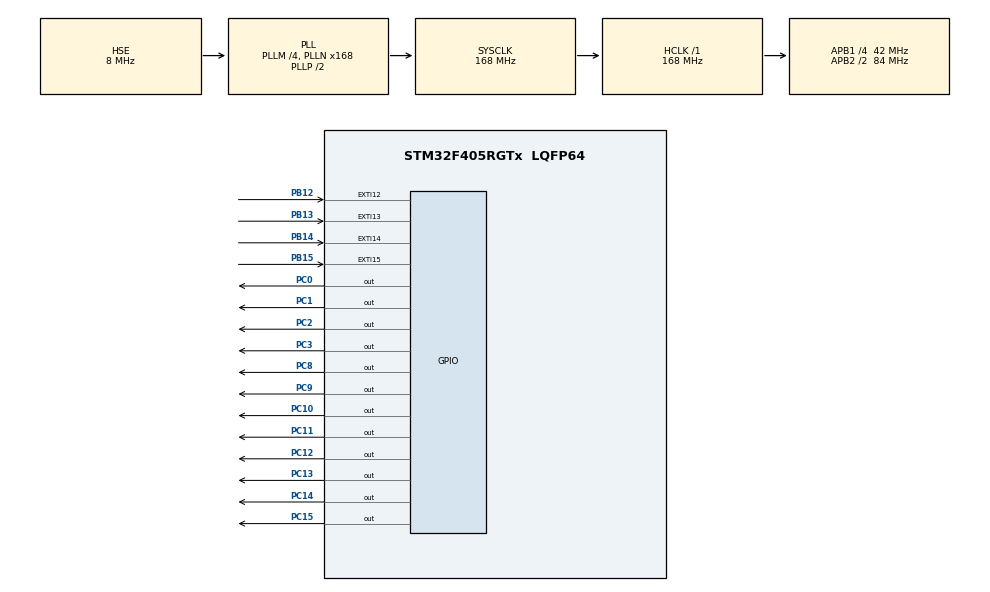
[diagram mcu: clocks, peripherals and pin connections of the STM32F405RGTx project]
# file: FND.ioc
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Mcu.Family=STM32F4
Mcu.Name=STM32F405RGTx
Mcu.Package=LQFP64
NVIC.PriorityGroup=NVIC_PRIORITYGROUP_4
PA13.Mode=Serial_Wire
PA13.Signal=SYS_JTMS-SWDIO
PA14.Mode=Serial_Wire
PA14.Signal=SYS_JTCK-SWCLK
PB12.Signal=GPXTI12
PB13.Signal=GPXTI13
PB14.Signal=GPXTI14
PB15.Signal=GPXTI15
PC0.Signal=GPIO_Output
PC1.Signal=GPIO_Output
PC10.Signal=GPIO_Output
PC11.Signal=GPIO_Output
PC12.Signal=GPIO_Output
PC13-ANTI_TAMP.Signal=GPIO_Output
PC14-OSC32_IN.Signal=GPIO_Output
PC15-OSC32_OUT.Signal=GPIO_Output
PC2.Signal=GPIO_Output
PC3.Signal=GPIO_Output
PC8.Signal=GPIO_Output
PC9.Signal=GPIO_Output
PH0-OSC_IN.Mode=HSE-External-Oscillator
PH0-OSC_IN.Signal=RCC_OSC_IN
PH1-OSC_OUT.Mode=HSE-External-Oscillator
PH1-OSC_OUT.Signal=RCC_OSC_OUT
ProjectManager.HeapSize=0x200
ProjectManager.StackSize=0x400
ProjectManager.TargetToolchain=EWARM V8.32
RCC.48MHZClocksFreq_Value=84000000
RCC.AHBFreq_Value=168000000
RCC.APB1CLKDivider=RCC_HCLK_DIV4
RCC.APB1Freq_Value=42000000
RCC.APB1TimFreq_Value=84000000
RCC.APB2CLKDivider=RCC_HCLK_DIV2
RCC.APB2Freq_Value=84000000
RCC.APB2TimFreq_Value=168000000
RCC.CortexFreq_Value=168000000
RCC.HCLKFreq_Value=168000000
RCC.HSE_VALUE=8000000
RCC.HSI_VALUE=16000000
RCC.LSE_VALUE=32768
RCC.PLLM=4
RCC.PLLN=168
RCC.PLLSourceVirtual=RCC_PLLSOURCE_HSE
RCC.SYSCLKFreq_VALUE=168000000
RCC.SYSCLKSource=RCC_SYSCLKSOURCE_PLLCLK
RCC.VCOOutputFreq_Value=336000000
board=custom

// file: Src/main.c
/* USER CODE BEGIN Header */
/**
******************************************************************************
* @file           : main.c
* @brief          : Main program body
******************************************************************************
* @attention
*
* <h2><center>&copy; Copyright (c) 2020 STMicroelectronics.
* All rights reserved.</center></h2>
*
* This software component is licensed by ST under BSD 3-Clause license,
* the "License"; You may not use this file except in compliance with the
* License. You may obtain a copy of the License at:
*                        opensource.org/licenses/BSD-3-Clause
*
******************************************************************************
*/
/* USER CODE END Header */

#include "main.h"
#include "gpio.h"

/* USER CODE BEGIN PV */

unsigned int FND_DATA_TBL[]={0x3F00,0x0600,0x5B00,0x4F00,0x6600,0x6D00,0x7C00,0x0700,0x7F00,0x6700,0x7700,0x7C00,0x3900,0x5E00,0x7900,0x7100,0x0800,0x8000};
/* USER CODE END PV */

void SystemClock_Config(void);

/* USER CODE BEGIN 0 */

int delay_cnt=0;
int cnt=0;

/* USER CODE END 0 */

int main(void)
{

  /* MCU Configuration--------------------------------------------------------*/

  /* Reset of all peripherals, Initializes the Flash interface and the Systick. */
  HAL_Init();

  /* Configure the system clock */
  SystemClock_Config();

  /* Initialize all configured peripherals */
  MX_GPIO_Init();

  /* Infinite loop */
  /* USER CODE BEGIN WHILE */

  HAL_GPIO_WritePin(GPIOC,FND_DATA_TBL[cnt],GPIO_PIN_SET);
  while (1)
  {

    HAL_GPIO_WritePin(GPIOC,GPIO_PIN_0,GPIO_PIN_SET);
    HAL_GPIO_WritePin(GPIOC,GPIO_PIN_1,GPIO_PIN_SET);
    HAL_GPIO_WritePin(GPIOC,GPIO_PIN_2,GPIO_PIN_SET);
    HAL_GPIO_WritePin(GPIOC,GPIO_PIN_3,GPIO_PIN_SET);
    HAL_Delay(delay_cnt);
    HAL_GPIO_WritePin(GPIOC,GPIO_PIN_0,GPIO_PIN_RESET);
    HAL_GPIO_WritePin(GPIOC,GPIO_PIN_1,GPIO_PIN_RESET);
    HAL_GPIO_WritePin(GPIOC,GPIO_PIN_2,GPIO_PIN_RESET);
    HAL_GPIO_WritePin(GPIOC,GPIO_PIN_3,GPIO_PIN_RESET);
    HAL_Delay(delay_cnt);

    /* USER CODE END WHILE */

  }
}

void SystemClock_Config(void)
{
  RCC_OscInitTypeDef RCC_OscInitStruct = {0};
  RCC_ClkInitTypeDef RCC_ClkInitStruct = {0};

  /** Configure the main internal regulator output voltage
  */
  __HAL_RCC_PWR_CLK_ENABLE();
  __HAL_PWR_VOLTAGESCALING_CONFIG(PWR_REGULATOR_VOLTAGE_SCALE1);
  /** Initializes the CPU, AHB and APB busses clocks
  */
  RCC_OscInitStruct.OscillatorType = RCC_OSCILLATORTYPE_HSE;
  RCC_OscInitStruct.HSEState = RCC_HSE_ON;
  RCC_OscInitStruct.PLL.PLLState = RCC_PLL_ON;
  RCC_OscInitStruct.PLL.PLLSource = RCC_PLLSOURCE_HSE;
  RCC_OscInitStruct.PLL.PLLM = 4;
  RCC_OscInitStruct.PLL.PLLN = 168;
  RCC_OscInitStruct.PLL.PLLP = RCC_PLLP_DIV2;
  RCC_OscInitStruct.PLL.PLLQ = 4;
  if (HAL_RCC_OscConfig(&RCC_OscInitStruct) != HAL_OK)
  {
    Error_Handler();
  }
  /** Initializes the CPU, AHB and APB busses clocks
  */
  RCC_ClkInitStruct.ClockType = RCC_CLOCKTYPE_HCLK|RCC_CLOCKTYPE_SYSCLK
                              |RCC_CLOCKTYPE_PCLK1|RCC_CLOCKTYPE_PCLK2;
  RCC_ClkInitStruct.SYSCLKSource = RCC_SYSCLKSOURCE_PLLCLK;
  RCC_ClkInitStruct.AHBCLKDivider = RCC_SYSCLK_DIV1;
  RCC_ClkInitStruct.APB1CLKDivider = RCC_HCLK_DIV4;
  RCC_ClkInitStruct.APB2CLKDivider = RCC_HCLK_DIV2;

  if (HAL_RCC_ClockConfig(&RCC_ClkInitStruct, FLASH_LATENCY_5) != HAL_OK)
  {
    Error_Handler();
  }
}

/* USER CODE BEGIN 4 */
void HAL_GPIO_EXTI_Callback(uint16_t GPIO_Pin)
{
  if(GPIO_Pin==GPIO_PIN_12) cnt++;
  else if(GPIO_PIN==GPIO_PIN_12) cnt--;

  if(cnt<0) cnt=0;
  else if(cnt>9) cnt=9;

     if(cnt==0) delay_cnt=0;
      else if(cnt==1) delay_cnt=100;
      else if(cnt==2) delay_cnt=200;
      else if(cnt==3) delay_cnt=300;
      else if(cnt==4) delay_cnt=400;
      else if(cnt==5) delay_cnt=500;
      else if(cnt==6) delay_cnt=600;
      else if(cnt==7) delay_cnt=700;
      else if(cnt==8) delay_cnt=800;
      else if(cnt==9) delay_cnt=900;
}
/* USER CODE END 4 */

void Error_Handler(void)
{
}

/************************ (C) COPYRIGHT STMicroelectronics *****END OF FILE****/
